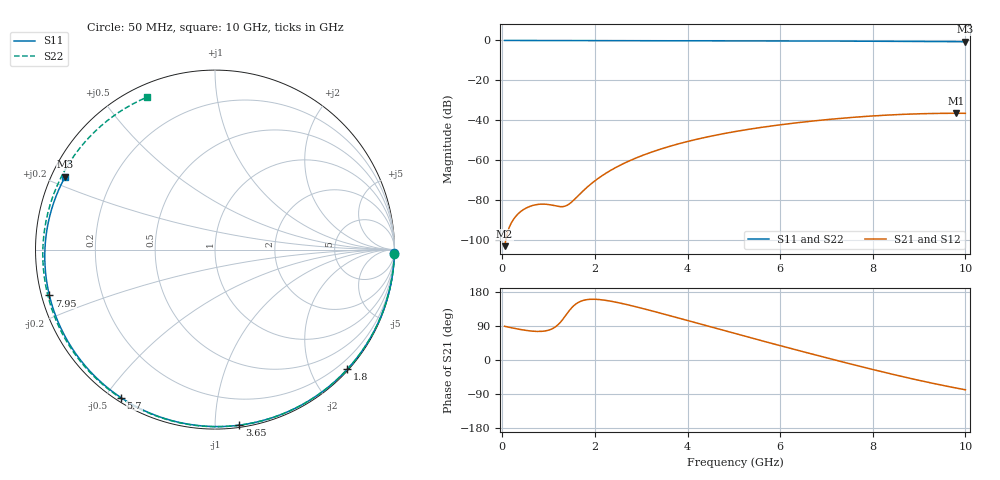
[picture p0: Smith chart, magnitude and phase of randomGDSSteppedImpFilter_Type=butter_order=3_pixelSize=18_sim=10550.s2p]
! freq	dB(S11)	phase(S11)	dB(S12)	phase(S12)
!  dB(S21)	phase(S21)	dB(S22)	phase(S22)
!S-par simulation data
#  GHz  S  DB  R 50
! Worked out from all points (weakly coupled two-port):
!   200 points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, 50 MHz to 10 GHz, reference 50 ohm
!   highest |S21| = -36.42 dB at 9.8 GHz (marker M1); lowest = -102.9 dB at 50 MHz (marker M2)
!   lowest |S11| = -0.6 dB at 10 GHz (marker M3), VSWR 26.86, Z = 1.96 + j11.5 ohm
!   |S11| at or under -10 dB: nowhere
!   |S22| runs from -0.6 to 0.0 dB; largest |S21 - S12| = 0
!   S11 on the Smith chart (normalised r, x): 50 MHz: 0, -95; 1.8 GHz: 0.02, -2.60; 3.65 GHz: 0.01, -1.15; 5.7 GHz: 0.02, -0.55; 7.95 GHz: 0.02, -0.14; 10 GHz: 0.04, +0.23
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0.05  -0.00 -1.2  -102.86 89.0  -102.86 89.0  -0.00 -1.4
0.75  -0.02 -17.8  -82.04 75.4  -82.04 75.4  -0.03 -21.0
1.5  -0.04 -35.2  -80.75 138.0  -80.75 138.0  -0.05 -41.5
1.55  -0.05 -36.4  -79.68 144.0  -79.68 144.0  -0.05 -42.8
1.75  -0.05 -40.9  -75.12 157.4  -75.12 157.4  -0.06 -48.2
1.8  -0.05 -42.1  -74.05 158.8  -74.05 158.8  -0.06 -49.5
2.1  -0.06 -48.8  -68.49 159.4  -68.49 159.4  -0.07 -57.4
2.45  -0.07 -56.6  -63.54 152.7  -63.54 152.7  -0.08 -66.4
2.9  -0.09 -66.3  -58.66 140.0  -58.66 140.0  -0.10 -77.7
3.4  -0.10 -76.9  -54.46 124.1  -54.46 124.1  -0.12 -89.9
3.65  -0.11 -82.1  -52.70 115.9  -52.70 115.9  -0.13 -95.9
4.35  -0.14 -96.3  -48.62 92.5  -48.62 92.5  -0.15 -112.2
5.05  -0.17 -110.0  -45.46 69.1  -45.46 69.1  -0.19 -128.1
5.7  -0.20 -122.4  -43.12 47.7  -43.12 47.7  -0.23 -142.5
6.2  -0.23 -131.8  -41.60 31.4  -41.60 31.4  -0.26 -153.5
6.7  -0.27 -141.1  -40.30 15.4  -40.30 15.4  -0.30 -164.6
7.35  -0.32 -153.2  -38.87 -5.2  -38.87 -5.2  -0.36 -179.3
7.95  -0.38 -164.5  -37.82 -23.6  -37.82 -23.6  -0.42 166.7
8.35  -0.42 -172.2  -37.27 -35.5  -37.27 -35.5  -0.46 157.1
9.05  -0.51 174.0  -36.64 -55.1  -36.64 -55.1  -0.54 139.5
9.8  -0.61 158.4  -36.42 -74.0  -36.42 -74.0  -0.61 119.5
10  -0.65 154.0  -36.43 -78.6  -36.43 -78.6  -0.63 113.9
